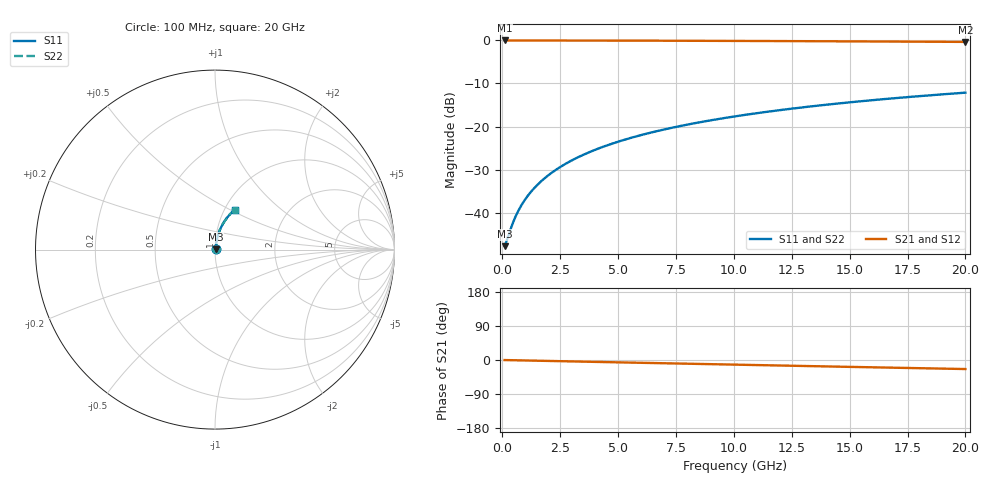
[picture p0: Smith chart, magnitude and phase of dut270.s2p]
! Touchstone file exported from HFSS 2026.1.0
!  File:  C:/ffzhzh/LocalFiles/Ansys_Project_Files/temp_train_TMRDL_270_1782985157_42984.aedt
!  Generated:  05:40:31 PM Jul  2, 2026
!  Design:  TMRDL
!  Project:  temp_train_TMRDL_270_1782985157_42984
! Variables:
!  h_bsmrdl = 2um
!  h_ox = 20um
!  h_rdl = 5um
!  h_sub = 80um
!  h_tmrdl = 2.72um
!  h_tsv = 80um
!  h_via = 3um
!  l_bsmrdl = 300um
!  l_sub = 725.97um
!  l_tmrdl = 325.97um
!  m_sub = 200um
!  pitch = 28.59um
!  r_tsv = 6um
!  s_tmrdl = 10um
!  w_bsmrdl = 18um
!  w_sub = 500um
!  w_tmrdl = 11.42um
!  x_tsv_center1 = 331.68um
!  x_tsv_center2 = 649.68um
!  x_tsv_center3 = 987.07um
!  x_tsv_center4 = 1305.07um
!  x_tsv_center5 = 1642.46um
!  x_tsv_center6 = 1960.46um
# GHz S MA R 50.000000
! Terminal data exported
! Port[1] = TM_RDL1_1_T1
! Port[2] = TM_RDL1_1_T2
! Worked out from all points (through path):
!   200 points, 100 MHz to 20 GHz, reference 50 ohm
!   highest |S21| = -0.03 dB at 100 MHz (marker M1); lowest = -0.4 dB at 20 GHz (marker M2)
!   group delay of S21, straight-line fit = 3.32 ps
!   lowest |S11| = -47.7 dB at 100 MHz (marker M3), VSWR 1.01, Z = 50.4 + j0.145 ohm
!   |S11| at or under -10 dB: start of sweep to end of sweep
!   |S22| runs from -47.7 to -12.1 dB; largest |S21 - S12| = 3.5e-15
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0.1  0.004128 20.4  0.9961 -0.1  0.9961 -0.1  0.004128 20.4
! Gamma 0 0 0 0
! Port Impedance 50 0 50 0
0.2  0.004853 36.2  0.9961 -0.3  0.9961 -0.3  0.004853 36.2
0.4  0.006985 54.3  0.996 -0.5  0.996 -0.5  0.006985 54.3
0.5  0.008192 59.4  0.9959 -0.6  0.9959 -0.6  0.008192 59.4
0.7  0.01069 65.8  0.9957 -0.9  0.9957 -0.9  0.01069 65.8
0.8  0.01196 68.0  0.9956 -1.0  0.9956 -1.0  0.01196 68.0
1  0.01452 71.1  0.9955 -1.3  0.9955 -1.3  0.01452 71.1
1.3  0.01839 74.1  0.9953 -1.6  0.9953 -1.6  0.01839 74.1
1.7  0.02359 76.5  0.9951 -2.1  0.9951 -2.1  0.02359 76.5
2.2  0.03013 78.2  0.9948 -2.7  0.9948 -2.7  0.03013 78.2
2.8  0.03802 79.1  0.9944 -3.5  0.9944 -3.5  0.03802 79.1
3.5  0.04724 79.5  0.9939 -4.3  0.9939 -4.3  0.04724 79.5
4.2  0.05644 79.5  0.9932 -5.2  0.9932 -5.2  0.05644 79.5
5  0.06693 79.2  0.9923 -6.2  0.9923 -6.2  0.06693 79.2
5.9  0.07867 78.6  0.9912 -7.3  0.9912 -7.3  0.07867 78.6
6.8  0.09032 77.8  0.9899 -8.4  0.9899 -8.4  0.09032 77.8
8.3  0.1095 76.4  0.9875 -10.2  0.9875 -10.2  0.1095 76.4
10.1  0.1322 74.5  0.9841 -12.4  0.9841 -12.4  0.1322 74.5
11.7  0.1519 72.8  0.9807 -14.3  0.9807 -14.3  0.1519 72.8
13.4  0.1724 70.9  0.9767 -16.3  0.9767 -16.3  0.1724 70.9
16.7  0.2109 67.3  0.968 -20.1  0.968 -20.1  0.2109 67.3
20  0.2475 63.7  0.9585 -23.9  0.9585 -23.9  0.2475 63.7
